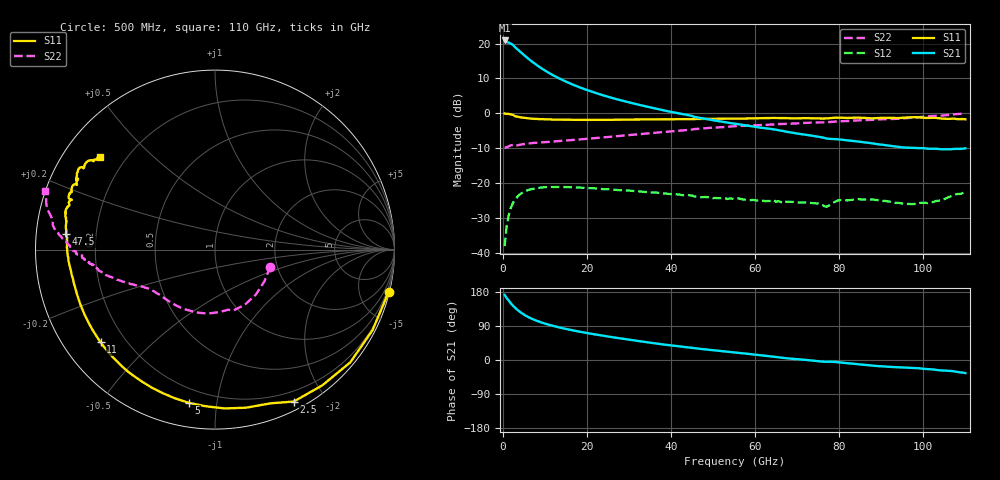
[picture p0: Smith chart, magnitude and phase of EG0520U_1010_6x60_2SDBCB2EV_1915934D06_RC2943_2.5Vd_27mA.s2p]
!File name = EG0520U_1010_6x60_2SDBCB2EV_1915934D06_RC2943_2.5Vd_27mA.s2p
!Base file name = EG0520U_1010_6x60_2SDBCB2EV_1915934D06_RC2943
!Date = 8/23/2019
!Time = 1:02 PM
!Test duration(min) = 0.15
!Test = S-Parameters
!MPTS version = 8.91.5
!State File = C:\Data\PNA\20190821205423\S-Parameters_2019-08-23.sta
!Cal File =
!ComputerName = CMPE-LAB-6
!Comments =
!Attenuation = 0
!Z0 = 50
!Input Power(dBm) = -13.00
!Device ID = EG0520U_1010_6x60_2SDBCB2EV
!Row = 29
!Column = 43
!Technology = QPHT09
!Lot/Wafer = 1915934D06
!Gate Size = 360
!Mask = EG0520
!Cal Standards = GaAs BCB
!Cal Kit = EG2306
!Job Number = 20190821205423
!Device Type = FET
!set_Vg(v) = -1.500
!set_Vd(v) = 2.500
!set_Vd(mA) = 27.000
!file_name = EG0520U_1010_6x60_2SDBCB2EV_1915934D06_RC2943_2.5Vd_27mA.s2p
!Vd(V) = 2.500
!Vd(mA) = 26.999
!Vg(V) = -0.547
!Vg(mA) = -0.002
# GHz  S  DB  R  50
!%	Freq(GHz)  s11(dB)  s11(deg)  s21(dB)  s21(deg)  s12(dB)  s12(deg)  s22(dB)  s22(deg)
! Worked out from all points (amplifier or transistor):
!   220 points, 500 MHz to 110 GHz, reference 50 ohm
!   highest |S21| = 20.9 dB at 500 MHz (marker M1)
!   |S21| within 3 dB of that: start of sweep to 4 GHz
!   unconditionally stable (mu >= 1): 37.22 GHz to 97.07 GHz
!   at 18.5 GHz: K = 0.49, MSG = 14.3 dB, |S12| = -21.2 dB
!   at 55.5 GHz: K = 1.43, MAG = 6.8 dB, |S12| = -24.5 dB
!   at 110 GHz: K = -0.85, MSG = 6.2 dB, |S12| = -22.4 dB
!   S11 on the Smith chart (normalised r, x): 500 MHz: 0.16, -8.34; 2.5 GHz: 0.09, -1.64; 5 GHz: 0.12, -0.84; 11 GHz: 0.11, -0.35; 47.5 GHz: 0.09, +0.05; 110 GHz: 0.11, +0.35
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0.5  -0.04 -13.7  20.88 171.7  -38.00 81.6  -9.83 -17.2
1  -0.12 -27.1  20.54 163.3  -32.20 74.3  -9.70 -32.9
2  -0.32 -51.6  19.97 149.1  -26.96 60.4  -9.13 -61.6
2.5  -0.41 -62.6  19.58 142.9  -25.56 54.7  -9.02 -72.9
3  -0.81 -70.1  18.92 137.8  -24.71 50.5  -9.30 -77.8
3.5  -0.94 -78.9  18.41 132.7  -23.92 46.0  -9.14 -86.1
4.5  -1.17 -93.5  17.34 124.1  -22.86 38.5  -8.87 -99.8
5  -1.25 -99.7  16.82 120.5  -22.49 35.3  -8.78 -105.3
6  -1.40 -110.3  15.80 114.0  -21.98 30.1  -8.63 -114.3
7.5  -1.55 -122.6  14.38 106.2  -21.52 24.0  -8.43 -124.0
9  -1.64 -131.6  13.11 100.1  -21.23 19.4  -8.32 -130.4
11  -1.72 -140.9  11.62 93.1  -21.07 14.4  -8.14 -136.9
14.5  -1.80 -152.3  9.42 83.3  -21.07 8.4  -7.81 -143.9
19  -1.85 -161.6  7.16 73.3  -21.26 3.1  -7.37 -149.2
26.5  -1.82 -171.2  4.27 59.5  -21.82 -1.8  -6.58 -154.3
37  -1.68 -179.7  1.22 42.8  -22.71 -5.3  -5.46 -160.0
47.5  -1.58 173.9  -1.40 28.8  -23.98 -6.6  -4.31 -165.8
55.5  -1.49 169.7  -3.00 19.5  -24.45 -6.4  -3.64 -169.7
73.5  -1.40 161.3  -6.37 -1.3  -25.67 -9.7  -2.60 -176.5
92  -1.29 152.6  -9.25 -18.0  -25.21 -21.6  -1.60 176.8
101  -1.28 148.1  -10.10 -24.0  -25.70 -17.7  -0.85 172.1
110  -1.67 141.2  -9.98 -34.5  -22.42 -24.9  0.02 160.8
